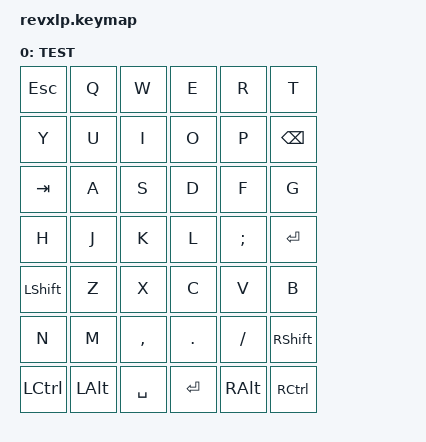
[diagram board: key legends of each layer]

#include <behaviors.dtsi>
#include <dt-bindings/zmk/keys.h>

/ {
    keymap {
        compatible = "zmk,keymap";

        test_layer {
            display-name = "TEST";
            bindings = <
                &kp ESC    &kp Q       &kp W       &kp E       &kp R       &kp T
                &kp Y      &kp U       &kp I       &kp O       &kp P       &kp BKSP

                &kp TAB    &kp A       &kp S       &kp D       &kp F       &kp G
                &kp H      &kp J       &kp K       &kp L       &kp SEMI    &kp RET

                &kp LSHFT  &kp Z       &kp X       &kp C       &kp V       &kp B
                &kp N      &kp M       &kp COMMA   &kp DOT     &kp FSLH    &kp RSHFT

                           &kp LCTRL   &kp LALT    &kp SPACE   &kp RET     &kp RALT    &kp RCTRL
            >;
        };
    };
};
